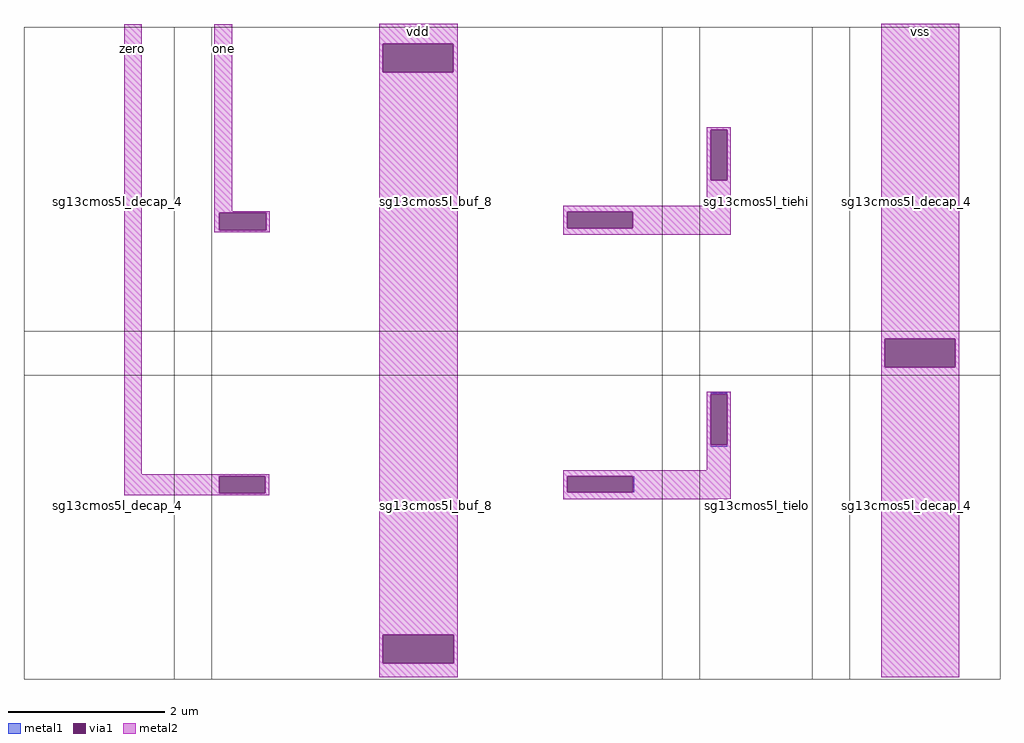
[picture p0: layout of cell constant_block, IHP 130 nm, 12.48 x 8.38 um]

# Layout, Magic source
magic
tech ihp-sg13cmos5l
magscale 1 2
<< metal1 >>
rect 571 327 573 371
rect 1708 -93 1750 -89
rect 1708 -227 1750 -222
rect 1509 -344 1512 -302
<< via1 >>
rect 869 731 1050 804
rect 1708 454 1750 583
rect 451 327 571 371
rect 1341 332 1509 374
rect 2153 -24 2334 49
rect 1708 -222 1750 -93
rect 451 -346 569 -303
rect 1341 -344 1509 -302
rect 870 -781 1051 -708
<< metal2 >>
rect 208 -298 253 853
rect 439 375 484 853
rect 861 804 1061 855
rect 861 731 869 804
rect 1050 731 1061 804
rect 439 371 580 375
rect 439 327 451 371
rect 571 327 580 371
rect 439 322 580 327
rect 208 -303 579 -298
rect 208 -346 451 -303
rect 569 -346 579 -303
rect 208 -351 579 -346
rect 861 -708 1061 731
rect 1698 583 1759 590
rect 1698 454 1708 583
rect 1750 454 1759 583
rect 1698 389 1759 454
rect 1331 374 1759 389
rect 1331 332 1341 374
rect 1509 332 1759 374
rect 1331 315 1759 332
rect 2144 49 2344 855
rect 2144 -24 2153 49
rect 2334 -24 2344 49
rect 1698 -93 1759 -86
rect 1698 -222 1708 -93
rect 1750 -222 1759 -93
rect 1698 -287 1759 -222
rect 1331 -302 1759 -287
rect 1331 -344 1341 -302
rect 1509 -344 1759 -302
rect 1331 -361 1759 -344
rect 861 -781 870 -708
rect 1051 -781 1061 -708
rect 861 -816 1061 -781
rect 2144 -817 2344 -24
use sg13cmos5l_buf_8  sg13cmos5l_buf_8_0 sg13cmos5l_stdcell
transform -1 0 1632 0 1 12
box -48 -56 1296 834
use sg13cmos5l_buf_8  sg13cmos5l_buf_8_1
transform -1 0 1632 0 -1 12
box -48 -56 1296 834
use sg13cmos5l_decap_4  sg13cmos5l_decap_4_0 sg13cmos5l_stdcell
transform 1 0 0 0 1 12
box -48 -56 432 834
use sg13cmos5l_decap_4  sg13cmos5l_decap_4_1
transform 1 0 2016 0 1 12
box -48 -56 432 834
use sg13cmos5l_decap_4  sg13cmos5l_decap_4_2
transform 1 0 0 0 -1 12
box -48 -56 432 834
use sg13cmos5l_decap_4  sg13cmos5l_decap_4_3
transform 1 0 2016 0 -1 12
box -48 -56 432 834
use sg13cmos5l_tiehi  sg13cmos5l_tiehi_0 sg13cmos5l_stdcell
transform -1 0 2016 0 1 12
box -48 -56 432 834
use sg13cmos5l_tielo  sg13cmos5l_tielo_0 sg13cmos5l_stdcell
transform -1 0 2016 0 -1 12
box -48 -56 432 834
<< labels >>
flabel metal2 439 732 484 853 0 FreeSans 480 90 0 0 one
port 0 nsew
flabel metal2 861 817 1061 855 0 FreeSans 480 0 0 0 vdd
port 2 nsew
flabel metal2 2144 817 2344 855 0 FreeSans 480 0 0 0 vss
port 3 nsew
flabel metal2 208 732 253 853 0 FreeSans 480 90 0 0 zero
port 1 nsew
<< end >>
